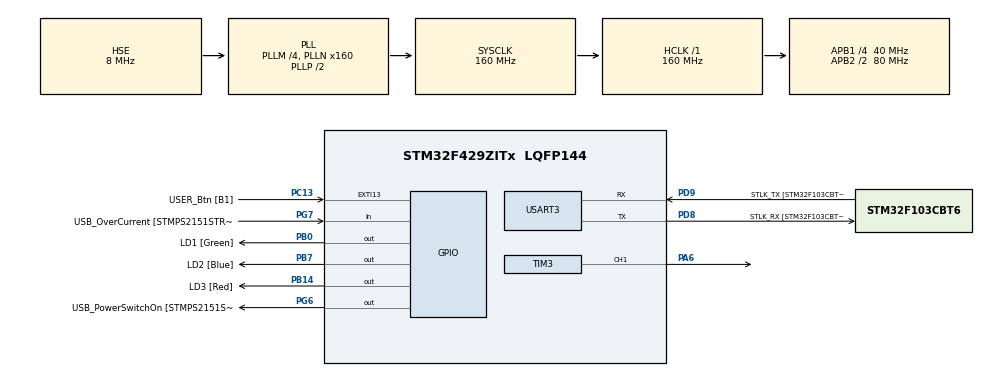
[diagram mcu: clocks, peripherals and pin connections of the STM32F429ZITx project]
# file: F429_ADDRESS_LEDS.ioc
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Dma.Request0=TIM3_CH1/TRIG
Dma.TIM3_CH1/TRIG.0.Direction=DMA_MEMORY_TO_PERIPH
Dma.TIM3_CH1/TRIG.0.FIFOMode=DMA_FIFOMODE_DISABLE
Dma.TIM3_CH1/TRIG.0.Instance=DMA1_Stream4
Dma.TIM3_CH1/TRIG.0.MemDataAlignment=DMA_MDATAALIGN_HALFWORD
Dma.TIM3_CH1/TRIG.0.MemInc=DMA_MINC_ENABLE
Dma.TIM3_CH1/TRIG.0.Mode=DMA_CIRCULAR
Dma.TIM3_CH1/TRIG.0.PeriphDataAlignment=DMA_PDATAALIGN_HALFWORD
Dma.TIM3_CH1/TRIG.0.PeriphInc=DMA_PINC_DISABLE
Dma.TIM3_CH1/TRIG.0.Priority=DMA_PRIORITY_LOW
Mcu.Family=STM32F4
Mcu.Name=STM32F429ZITx
Mcu.Package=LQFP144
NVIC.DMA1_Stream4_IRQn=true\:0\:0\:false\:false\:true\:false\:true\:true
NVIC.PriorityGroup=NVIC_PRIORITYGROUP_4
PA13.GPIO_Label=TMS
PA13.Mode=Serial_Wire
PA13.Signal=SYS_JTMS-SWDIO
PA14.GPIO_Label=TCK
PA14.Mode=Serial_Wire
PA14.Signal=SYS_JTCK-SWCLK
PA6.GPIO_PuPd=GPIO_PULLUP
PA6.GPIO_Speed=GPIO_SPEED_FREQ_VERY_HIGH
PA6.Signal=S_TIM3_CH1
PB0.GPIO_Label=LD1 [Green]
PB0.Signal=GPIO_Output
PB14.GPIO_Label=LD3 [Red]
PB14.Signal=GPIO_Output
PB7.GPIO_Label=LD2 [Blue]
PB7.Signal=GPIO_Output
PC13.GPIO_Label=USER_Btn [B1]
PC13.Signal=GPXTI13
PC14/OSC32_IN.Mode=LSE-External-Oscillator
PC14/OSC32_IN.Signal=RCC_OSC32_IN
PC15/OSC32_OUT.Mode=LSE-External-Oscillator
PC15/OSC32_OUT.Signal=RCC_OSC32_OUT
PD8.GPIO_Label=STLK_RX [STM32F103CBT6_PA3]
PD8.Mode=Asynchronous
PD8.Signal=USART3_TX
PD9.GPIO_Label=STLK_TX [STM32F103CBT6_PA2]
PD9.Mode=Asynchronous
PD9.Signal=USART3_RX
PG6.GPIO_Label=USB_PowerSwitchOn [STMPS2151STR_EN]
PG6.Signal=GPIO_Output
PG7.GPIO_Label=USB_OverCurrent [STMPS2151STR_FAULT]
PG7.Signal=GPIO_Input
PH0/OSC_IN.GPIO_Label=MCO [STM32F103CBT6_PA8]
PH0/OSC_IN.Mode=HSE-External-Clock-Source
PH0/OSC_IN.Signal=RCC_OSC_IN
PH1/OSC_OUT.Mode=HSE-External-Clock-Source
PH1/OSC_OUT.Signal=RCC_OSC_OUT
ProjectManager.HeapSize=0x200
ProjectManager.StackSize=0x400
ProjectManager.TargetToolchain=STM32CubeIDE
RCC.48MHZClocksFreq_Value=45714285.71428572
RCC.AHBFreq_Value=160000000
RCC.APB1CLKDivider=RCC_HCLK_DIV4
RCC.APB1Freq_Value=40000000
RCC.APB1TimFreq_Value=80000000
RCC.APB2CLKDivider=RCC_HCLK_DIV2
RCC.APB2Freq_Value=80000000
RCC.APB2TimFreq_Value=160000000
RCC.CortexFreq_Value=160000000
RCC.HCLKFreq_Value=160000000
RCC.HSE_VALUE=8000000
RCC.HSI_VALUE=16000000
RCC.PLLM=4
RCC.PLLMUL=RCC_PLL_MUL9
RCC.PLLN=160
RCC.PLLQ=7
RCC.PLLSourceVirtual=RCC_PLLSOURCE_HSE
RCC.PRESCALERUSB=RCC_USBCLKSOURCE_PLL_DIV1_5
RCC.SYSCLKFreq_VALUE=160000000
RCC.SYSCLKSource=RCC_SYSCLKSOURCE_PLLCLK
RCC.SYSCLKSourceVirtual=RCC_SYSCLKSOURCE_PLLCLK
RCC.USBFreq_Value=48000000
RCC.VCOOutputFreq_Value=320000000
SH.S_TIM3_CH1.0=TIM3_CH1,PWM Generation1 CH1
TIM3.Channel-PWM\ Generation1\ CH1=TIM_CHANNEL_1
TIM3.OCMode_PWM-PWM\ Generation1\ CH1=TIM_OCMODE_PWM2
TIM3.OCPolarity_1=TIM_OCPOLARITY_HIGH
TIM3.Period=99
USART3.VirtualMode=VM_ASYNC
VP_TIM3_VS_ClockSourceINT.Mode=Internal
board=NUCLEO-F429ZI

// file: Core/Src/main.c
/* USER CODE BEGIN Header */
/**
  ******************************************************************************
  * @file           : main.c
  * @brief          : Main program body
  ******************************************************************************
  * @attention
  *
  * Copyright (c) 2023 STMicroelectronics.
  * All rights reserved.
  *
  * This software is licensed under terms that can be found in the LICENSE file
  * in the root directory of this software component.
  * If no LICENSE file comes with this software, it is provided AS-IS.
  *
  ******************************************************************************
  */
/* USER CODE END Header */
#include "main.h"

/* USER CODE BEGIN Includes */
#include "ARGB.h"
#include "ws2812.h"
/* USER CODE END Includes */

TIM_HandleTypeDef htim3;
DMA_HandleTypeDef hdma_tim3_ch1_trig;

UART_HandleTypeDef huart3;

/* USER CODE BEGIN PV */
uint8_t rVal = 0, gVal = 0, bVal = 0;
uint8_t fillFlag = 0;
/* USER CODE END PV */

void SystemClock_Config(void);
static void MX_GPIO_Init(void);
static void MX_DMA_Init(void);
static void MX_USART3_UART_Init(void);
static void MX_TIM3_Init(void);

int main(void)
{

  /* MCU Configuration--------------------------------------------------------*/

  /* Reset of all peripherals, Initializes the Flash interface and the Systick. */
+  HAL_Init();

  /* Configure the system clock */
  SystemClock_Config();

  /* Initialize all configured peripherals */
  MX_GPIO_Init();
  MX_DMA_Init();
  MX_USART3_UART_Init();
  MX_TIM3_Init();
  /* USER CODE BEGIN 2 */
//  HAL_TIM_PWM_Stop_DMA(&htim3, TIM_CHANNEL_1);
  ARGB_Init();
  ARGB_Clear();
  while (ARGB_Show() != ARGB_OK);
//  ws2812_prepareValue(128, 0, 0, 0, 128, 0, 0, 0, 128, 64, 64, 0,

//      0, 64, 64, 64, 0, 64, 96, 32, 0, 96, 0, 32,
//      32, 96, 0, 0, 96, 32, 0, 32, 96, 32, 0, 96);
//  ws2812_setValue();
//  for (volatile uint8_t cnt = 0; cnt <30; cnt++) {
//	  ARGB_SetRGB(cnt, 255, 0,  0);
//  }
//  while (!ARGB_Show());
//  for (volatile uint8_t cnt = 30; cnt < 59; cnt++) {
//	  ARGB_SetRGB(cnt, 0, 255,  0);
//  }
//  while (!ARGB_Show());
  /* USER CODE END 2 */

  /* Infinite loop */
  /* USER CODE BEGIN WHILE */
  while (1)
  {
	  ARGB_FillRGB(rVal, gVal, bVal); // Fill all the strip with Red
	  if (fillFlag) {
		  fillFlag = 0;
		for (volatile uint8_t cnt = 0; cnt <30; cnt++) {
		  ARGB_SetRGB(cnt, 200, 0,  200);
		}
		for (volatile uint8_t cnt = 30; cnt < 59; cnt++) {
		  ARGB_SetRGB(cnt, 0, 0,  255);
		}
		  while (!ARGB_Show());
	  }
	  HAL_Delay(40);
//	  ws2812_prepareValue(128, 0, 0, 0, 128, 0, 0, 0, 128, 64, 64, 0,
//	      0, 64, 64, 64, 0, 64, 96, 32, 0, 96, 0, 32,
//	      32, 96, 0, 0, 96, 32, 0, 32, 96, 32, 0, 96);
//	  ws2812_setValue();
//	  ws2812_test02();
//	  ws2812_test03();
//	  ws2812_test04(1);
//	  ws2812_test04(2);
//	  ws2812_test04(3);
//	  ws2812_test04(4);
//	  ws2812_test04(5);
//	  ws2812_test04(6);
//	  ws2812_test05();
    /* USER CODE END WHILE */

  }
}

void SystemClock_Config(void)
{
  RCC_OscInitTypeDef RCC_OscInitStruct = {0};
  RCC_ClkInitTypeDef RCC_ClkInitStruct = {0};

  /** Configure the main internal regulator output voltage
  */
  __HAL_RCC_PWR_CLK_ENABLE();
  __HAL_PWR_VOLTAGESCALING_CONFIG(PWR_REGULATOR_VOLTAGE_SCALE1);

  /** Initializes the RCC Oscillators according to the specified parameters
  * in the RCC_OscInitTypeDef structure.
  */
  RCC_OscInitStruct.OscillatorType = RCC_OSCILLATORTYPE_HSE;
  RCC_OscInitStruct.HSEState = RCC_HSE_BYPASS;
  RCC_OscInitStruct.PLL.PLLState = RCC_PLL_ON;
  RCC_OscInitStruct.PLL.PLLSource = RCC_PLLSOURCE_HSE;
  RCC_OscInitStruct.PLL.PLLM = 4;
  RCC_OscInitStruct.PLL.PLLN = 160;
  RCC_OscInitStruct.PLL.PLLP = RCC_PLLP_DIV2;
  RCC_OscInitStruct.PLL.PLLQ = 7;
  if (HAL_RCC_OscConfig(&RCC_OscInitStruct) != HAL_OK)
  {
    Error_Handler();
  }

  /** Initializes the CPU, AHB and APB buses clocks
  */
  RCC_ClkInitStruct.ClockType = RCC_CLOCKTYPE_HCLK|RCC_CLOCKTYPE_SYSCLK
                              |RCC_CLOCKTYPE_PCLK1|RCC_CLOCKTYPE_PCLK2;
  RCC_ClkInitStruct.SYSCLKSource = RCC_SYSCLKSOURCE_PLLCLK;
  RCC_ClkInitStruct.AHBCLKDivider = RCC_SYSCLK_DIV1;
  RCC_ClkInitStruct.APB1CLKDivider = RCC_HCLK_DIV4;
  RCC_ClkInitStruct.APB2CLKDivider = RCC_HCLK_DIV2;

  if (HAL_RCC_ClockConfig(&RCC_ClkInitStruct, FLASH_LATENCY_5) != HAL_OK)
  {
    Error_Handler();
  }
}

static void MX_TIM3_Init(void)
{

  TIM_ClockConfigTypeDef sClockSourceConfig = {0};
  TIM_MasterConfigTypeDef sMasterConfig = {0};
  TIM_OC_InitTypeDef sConfigOC = {0};

  htim3.Instance = TIM3;
  htim3.Init.Prescaler = 0;
  htim3.Init.CounterMode = TIM_COUNTERMODE_UP;
  htim3.Init.Period = 99;
  htim3.Init.ClockDivision = TIM_CLOCKDIVISION_DIV1;
  htim3.Init.AutoReloadPreload = TIM_AUTORELOAD_PRELOAD_DISABLE;
  if (HAL_TIM_Base_Init(&htim3) != HAL_OK)
  {
    Error_Handler();
  }
  sClockSourceConfig.ClockSource = TIM_CLOCKSOURCE_INTERNAL;
  if (HAL_TIM_ConfigClockSource(&htim3, &sClockSourceConfig) != HAL_OK)
  {
    Error_Handler();
  }
  if (HAL_TIM_PWM_Init(&htim3) != HAL_OK)
  {
    Error_Handler();
  }
  sMasterConfig.MasterOutputTrigger = TIM_TRGO_RESET;
  sMasterConfig.MasterSlaveMode = TIM_MASTERSLAVEMODE_DISABLE;
  if (HAL_TIMEx_MasterConfigSynchronization(&htim3, &sMasterConfig) != HAL_OK)
  {
    Error_Handler();
  }
  sConfigOC.OCMode = TIM_OCMODE_PWM2;
  sConfigOC.Pulse = 0;
  sConfigOC.OCPolarity = TIM_OCPOLARITY_HIGH;
  sConfigOC.OCFastMode = TIM_OCFAST_DISABLE;
  if (HAL_TIM_PWM_ConfigChannel(&htim3, &sConfigOC, TIM_CHANNEL_1) != HAL_OK)
  {
    Error_Handler();
  }
  HAL_TIM_MspPostInit(&htim3);

}

static void MX_USART3_UART_Init(void)
{

  huart3.Instance = USART3;
  huart3.Init.BaudRate = 115200;
  huart3.Init.WordLength = UART_WORDLENGTH_8B;
  huart3.Init.StopBits = UART_STOPBITS_1;
  huart3.Init.Parity = UART_PARITY_NONE;
  huart3.Init.Mode = UART_MODE_TX_RX;
  huart3.Init.HwFlowCtl = UART_HWCONTROL_NONE;
  huart3.Init.OverSampling = UART_OVERSAMPLING_16;
  if (HAL_UART_Init(&huart3) != HAL_OK)
  {
    Error_Handler();
  }

}

static void MX_DMA_Init(void)
{

  /* DMA controller clock enable */
  __HAL_RCC_DMA1_CLK_ENABLE();

  /* DMA interrupt init */
  /* DMA1_Stream4_IRQn interrupt configuration */
  HAL_NVIC_SetPriority(DMA1_Stream4_IRQn, 0, 0);
  HAL_NVIC_EnableIRQ(DMA1_Stream4_IRQn);

}

static void MX_GPIO_Init(void)
{
  GPIO_InitTypeDef GPIO_InitStruct = {0};

  /* GPIO Ports Clock Enable */
  __HAL_RCC_GPIOC_CLK_ENABLE();
  __HAL_RCC_GPIOH_CLK_ENABLE();
  __HAL_RCC_GPIOA_CLK_ENABLE();
  __HAL_RCC_GPIOB_CLK_ENABLE();
  __HAL_RCC_GPIOD_CLK_ENABLE();
  __HAL_RCC_GPIOG_CLK_ENABLE();

  /*Configure GPIO pin Output Level */
  HAL_GPIO_WritePin(GPIOB, LD1_Pin|LD3_Pin|LD2_Pin, GPIO_PIN_RESET);

  /*Configure GPIO pin Output Level */
  HAL_GPIO_WritePin(USB_PowerSwitchOn_GPIO_Port, USB_PowerSwitchOn_Pin, GPIO_PIN_RESET);

  /*Configure GPIO pin : USER_Btn_Pin */
  GPIO_InitStruct.Pin = USER_Btn_Pin;
  GPIO_InitStruct.Mode = GPIO_MODE_IT_RISING;
  GPIO_InitStruct.Pull = GPIO_NOPULL;
  HAL_GPIO_Init(USER_Btn_GPIO_Port, &GPIO_InitStruct);

  /*Configure GPIO pins : LD1_Pin LD3_Pin LD2_Pin */
  GPIO_InitStruct.Pin = LD1_Pin|LD3_Pin|LD2_Pin;
  GPIO_InitStruct.Mode = GPIO_MODE_OUTPUT_PP;
  GPIO_InitStruct.Pull = GPIO_NOPULL;
  GPIO_InitStruct.Speed = GPIO_SPEED_FREQ_LOW;
  HAL_GPIO_Init(GPIOB, &GPIO_InitStruct);

  /*Configure GPIO pin : USB_PowerSwitchOn_Pin */
  GPIO_InitStruct.Pin = USB_PowerSwitchOn_Pin;
  GPIO_InitStruct.Mode = GPIO_MODE_OUTPUT_PP;
  GPIO_InitStruct.Pull = GPIO_NOPULL;
  GPIO_InitStruct.Speed = GPIO_SPEED_FREQ_LOW;
  HAL_GPIO_Init(USB_PowerSwitchOn_GPIO_Port, &GPIO_InitStruct);

  /*Configure GPIO pin : USB_OverCurrent_Pin */
  GPIO_InitStruct.Pin = USB_OverCurrent_Pin;
  GPIO_InitStruct.Mode = GPIO_MODE_INPUT;
  GPIO_InitStruct.Pull = GPIO_NOPULL;
  HAL_GPIO_Init(USB_OverCurrent_GPIO_Port, &GPIO_InitStruct);

}

void Error_Handler(void)
{
  __disable_irq();
  while (1)
  {
  }
}
